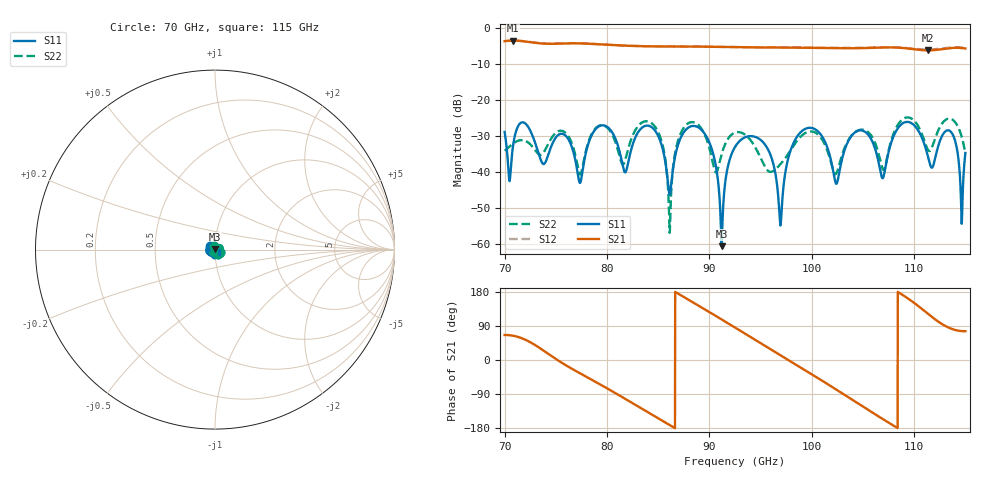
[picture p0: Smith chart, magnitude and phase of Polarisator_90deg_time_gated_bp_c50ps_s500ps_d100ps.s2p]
# Hz S RI R 1.000000
! Metas.Vna.Tools, 2.4.7898.19887
! Metas.Vna.Data, 2.4.7898.19873
! Created: UTC 2021.09.30 14:31:00
! FREQ  re:S1,1  im:S1,1  re:S2,1  im:S2,1  re:S1,2  im:S1,2  re:S2,2  im:S2,2
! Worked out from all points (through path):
!   2251 points, 70 GHz to 115 GHz, reference 1 ohm
!   highest |S21| = -3.54 dB at 70.84 GHz (marker M1); lowest = -6.3 dB at 111.3 GHz (marker M2)
!   lowest |S11| = -60.7 dB at 91.2 GHz (marker M3), VSWR 1.00, Z = 1 + j0.00179 ohm
!   |S11| at or under -10 dB: start of sweep to end of sweep
!   |S22| runs from -57.0 to -24.9 dB; largest |S21 - S12| = 0.076
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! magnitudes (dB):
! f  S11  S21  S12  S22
! 70 GHz  -29.0  -3.7  -3.6  -34.2
! 70.84 GHz  -32.5  -3.5  -3.5  -32.2
! 75.74 GHz  -29.6  -4.3  -4.3  -28.8
! 77.5 GHz  -41.8  -4.3  -4.3  -40.1
! 79.24 GHz  -27.3  -4.6  -4.5  -27.2
! 81.76 GHz  -40.2  -4.9  -4.9  -36.9
! 85 GHz  -30.1  -5.2  -5.1  -29.0
! 86.12 GHz  -46.4  -5.2  -5.1  -57.0
! 87.08 GHz  -31.4  -5.2  -5.1  -30.2
! 88.9 GHz  -27.6  -5.2  -5.2  -26.9
! 91.2 GHz  -60.7  -5.3  -5.3  -35.1
! 92.5 GHz  -33.1  -5.4  -5.3  -29.1
! 95.44 GHz  -32.5  -5.4  -5.4  -38.7
! 96.94 GHz  -55.0  -5.4  -5.4  -37.9
! 98.04 GHz  -33.2  -5.5  -5.4  -33.5
! 100 GHz  -27.8  -5.6  -5.5  -28.8
! 102.4 GHz  -43.4  -5.7  -5.6  -40.5
! 104.4 GHz  -28.8  -5.7  -5.5  -28.7
! 107.5 GHz  -34.5  -5.4  -5.3  -34.1
! 109.3 GHz  -26.2  -5.7  -5.6  -24.9
! 111.3 GHz  -35.8  -6.3  -6.0  -33.9
! 115 GHz  -34.8  -5.7  -5.6  -35.1
